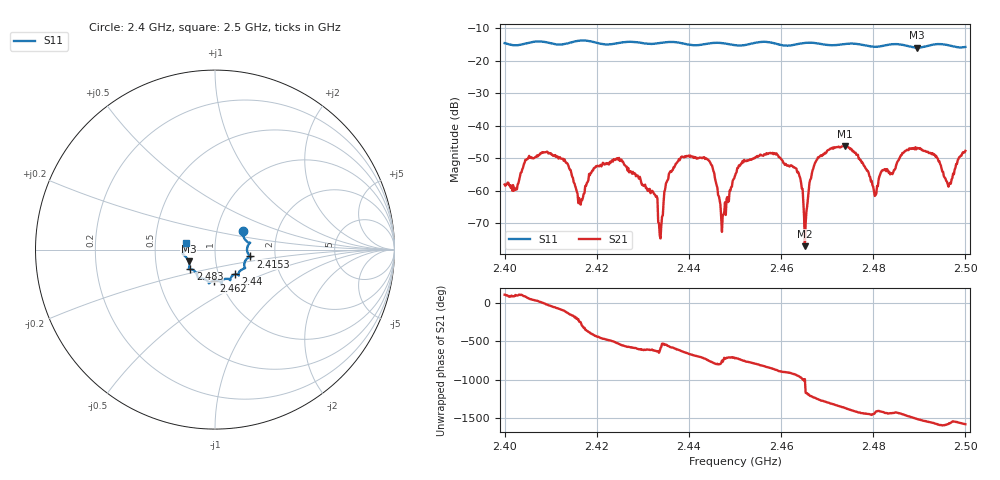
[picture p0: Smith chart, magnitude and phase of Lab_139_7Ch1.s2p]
# Hz S RI R 50
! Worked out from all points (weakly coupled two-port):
!   601 points, 2.4 GHz to 2.5 GHz, reference 50 ohm
!   highest |S21| = -46.19 dB at 2.4738 GHz (marker M1); lowest = -77.0 dB at 2.4652 GHz (marker M2)
!   lowest |S11| = -15.9 dB at 2.4895 GHz (marker M3), VSWR 1.38, Z = 37 - j4.99 ohm
!   |S11| at or under -10 dB: start of sweep to end of sweep
!   S12 and S22 are empty: the file has one direction only
!   S11 on the Smith chart (normalised r, x): 2.4 GHz: 1.33, +0.29; 2.4153 GHz: 1.48, -0.12; 2.44 GHz: 1.20, -0.34; 2.462 GHz: 0.93, -0.33; 2.483 GHz: 0.74, -0.17; 2.5 GHz: 0.72, +0.06
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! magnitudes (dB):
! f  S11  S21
! 2.4 GHz  -14.5  -58.0
! 2.4088 GHz  -14.2  -48.1
! 2.4153 GHz  -14.0  -58.5
! 2.4167 GHz  -13.7  -62.7
! 2.4248 GHz  -14.4  -49.8
! 2.4333 GHz  -14.6  -69.6
! 2.4362 GHz  -14.1  -54.2
! 2.44 GHz  -15.0  -49.1
! 2.4447 GHz  -14.5  -51.4
! 2.4475 GHz  -14.6  -67.3
! 2.45 GHz  -15.1  -55.3
! 2.462 GHz  -15.2  -52.2
! 2.4638 GHz  -14.7  -54.6
! 2.4652 GHz  -14.4  -77.0
! 2.4667 GHz  -14.4  -54.8
! 2.4738 GHz  -14.8  -46.2
! 2.4803 GHz  -15.6  -61.6
! 2.483 GHz  -15.1  -53.3
! 2.4833 GHz  -15.0  -54.4
! 2.4895 GHz  -15.9  -46.7
! 2.4963 GHz  -15.2  -58.7
! 2.5 GHz  -15.7  -47.7
